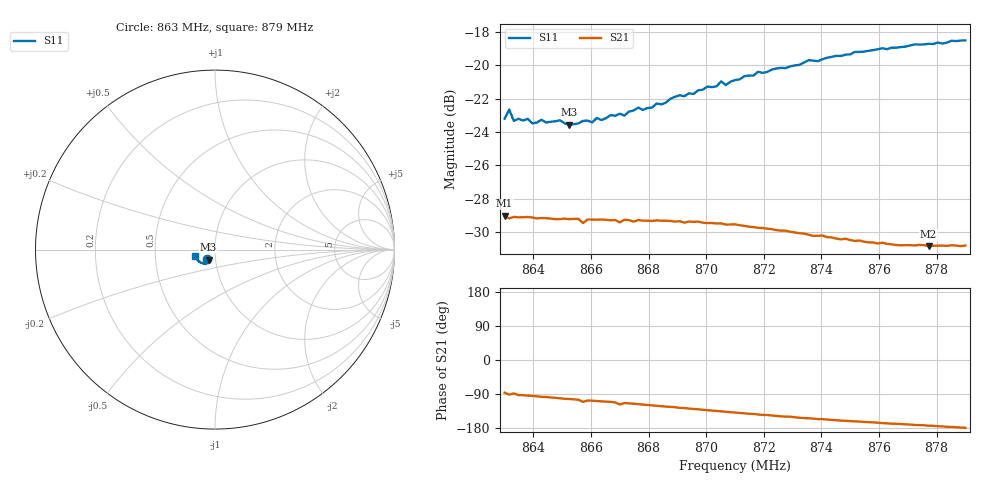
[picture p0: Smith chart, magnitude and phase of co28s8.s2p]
# HZ S RI R 50
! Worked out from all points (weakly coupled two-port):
!   101 points, 863 MHz to 879 MHz, reference 50 ohm
!   highest |S21| = -29.03 dB at 863 MHz (marker M1); lowest = -30.9 dB at 877.72 MHz (marker M2)
!   lowest |S11| = -23.6 dB at 865.24 MHz (marker M3), VSWR 1.14, Z = 46.2 - j5.16 ohm
!   |S11| at or under -10 dB: start of sweep to end of sweep
!   S12 and S22 are empty: the file has one direction only
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8.63e8  -0.0421 -0.0548  0.00234 -0.0353  0 0  0 0
8.6316e8  -0.048 -0.0558  -0.000874 -0.0347  0 0  0 0
8.6332e8  -0.0396 -0.0553  0.00112 -0.0351  0 0  0 0
8.6492e8  -0.0379 -0.0569  -0.00664 -0.0339  0 0  0 0
8.6524e8  -0.036 -0.0556  -0.00773 -0.0337  0 0  0 0
8.6556e8  -0.0349 -0.0571  -0.00885 -0.0335  0 0  0 0
8.6572e8  -0.034 -0.059  -0.0117 -0.0315  0 0  0 0
8.6604e8  -0.0336 -0.0584  -0.0103 -0.0329  0 0  0 0
8.662e8  -0.0352 -0.0599  -0.0108 -0.0327  0 0  0 0
8.6716e8  -0.0332 -0.0623  -0.0137 -0.0316  0 0  0 0
8.6764e8  -0.0357 -0.0655  -0.0153 -0.0307  0 0  0 0
8.678e8  -0.0346 -0.0648  -0.0159 -0.0303  0 0  0 0
8.6844e8  -0.0359 -0.0673  -0.0181 -0.029  0 0  0 0
8.6908e8  -0.0396 -0.0709  -0.0201 -0.0275  0 0  0 0
8.7036e8  -0.0451 -0.0737  -0.0235 -0.0239  0 0  0 0
8.7052e8  -0.0484 -0.0752  -0.0239 -0.0235  0 0  0 0
8.7068e8  -0.0459 -0.0741  -0.0241 -0.0229  0 0  0 0
8.71e8  -0.0493 -0.0756  -0.025 -0.0221  0 0  0 0
8.7372e8  -0.0704 -0.0754  -0.0278 -0.0132  0 0  0 0
8.7644e8  -0.0953 -0.0605  -0.0284 -0.006  0 0  0 0
8.7772e8  -0.1042 -0.0507  -0.0285 -0.00329  0 0  0 0
8.79e8  -0.1123 -0.038  -0.0288 -0.000489  0 0  0 0
